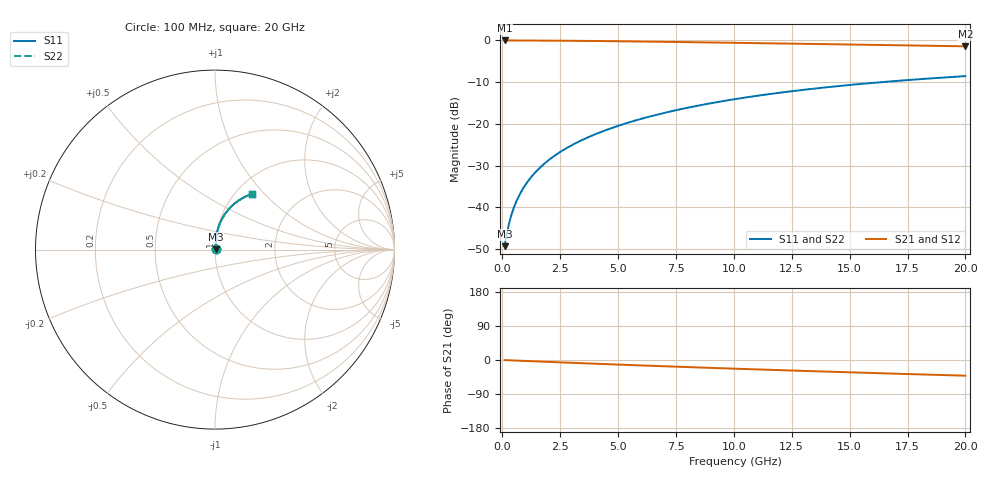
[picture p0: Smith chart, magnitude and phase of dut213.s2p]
! Touchstone file exported from HFSS 2024.1.0
!  File:  C:/UserFiles/LocalFiles/RDL_TSV_Batchsim/temp_RDL_bottom_213_1778700101.aedt
!  Generated:  03:24:00 AM May 14, 2026
!  Design:  RDL_bottom
!  Project:  temp_RDL_bottom_213_1778700101
!  Setup:  Setup1
!  Solution:  Sweep
! Variables:
!  dtsv = 10.80580581um
!  hbump = 3um
!  htsv = 58.19um
!  ldown = 594.39um
!  lrdl = 100um
!  p = 40
!  p1 = 49.45um
!  rhole = 1um
!  t = 450um
!  tdown = 3.7um
!  trdl = 3.915915916um
!  wdown = 21.88um
!  wrdl = 20um
# GHz S MA R 50.000000
! Terminal data exported
! Port[1] = RDL1_T1
! Port[2] = RDL1_T2
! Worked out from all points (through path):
!   200 points, 100 MHz to 20 GHz, reference 50 ohm
!   highest |S21| = -0.02 dB at 100 MHz (marker M1); lowest = -1.4 dB at 20 GHz (marker M2)
!   group delay of S21, straight-line fit = 5.7 ps
!   lowest |S11| = -49.3 dB at 100 MHz (marker M3), VSWR 1.01, Z = 50.3 + j0.203 ohm
!   |S11| at or under -10 dB: start of sweep to 16.38 GHz
!   |S22| runs from -49.3 to -8.6 dB; largest |S21 - S12| = 2.6e-15
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0.1  0.003444 35.8  0.9972 -0.3  0.9972 -0.3  0.003444 35.8
! Gamma 0 0 0 0
! Port Impedance 50 0 50 0
0.2  0.004923 53.4  0.997 -0.5  0.997 -0.5  0.004923 53.4
0.3  0.006572 62.0  0.9968 -0.8  0.9968 -0.8  0.006572 62.0
0.4  0.008256 67.1  0.9967 -1.0  0.9967 -1.0  0.008256 67.1
0.5  0.009958 70.6  0.9965 -1.3  0.9965 -1.3  0.009958 70.6
0.6  0.01168 73.2  0.9963 -1.5  0.9963 -1.5  0.01168 73.2
0.8  0.01516 76.6  0.996 -2.0  0.996 -2.0  0.01516 76.6
1.1  0.02047 79.7  0.9953 -2.8  0.9953 -2.8  0.02047 79.7
1.3  0.02406 81.0  0.9949 -3.3  0.9949 -3.3  0.02406 81.0
1.6  0.0295 82.2  0.994 -4.0  0.994 -4.0  0.0295 82.2
2.1  0.03869 83.4  0.9923 -5.2  0.9923 -5.2  0.03869 83.4
2.7  0.04991 84.1  0.9897 -6.7  0.9897 -6.7  0.04991 84.1
3.5  0.06519 84.2  0.9855 -8.6  0.9855 -8.6  0.06519 84.2
4.2  0.07886 83.9  0.9811 -10.3  0.9811 -10.3  0.07886 83.9
5  0.09479 83.2  0.9757 -12.1  0.9757 -12.1  0.09478 83.2
6.8  0.1314 80.8  0.962 -16.2  0.962 -16.2  0.1314 80.8
8.4  0.1644 78.2  0.9488 -19.6  0.9488 -19.6  0.1644 78.1
10.1  0.199 75.0  0.9344 -23.1  0.9344 -23.1  0.199 75.0
11.7  0.2308 71.9  0.9207 -26.2  0.9207 -26.2  0.2307 71.9
13.4  0.2633 68.6  0.9059 -29.5  0.9059 -29.5  0.2632 68.6
16.7  0.3216 62.3  0.8772 -35.6  0.8772 -35.6  0.3216 62.3
20  0.3732 56.3  0.8487 -41.4  0.8487 -41.4  0.3731 56.2
